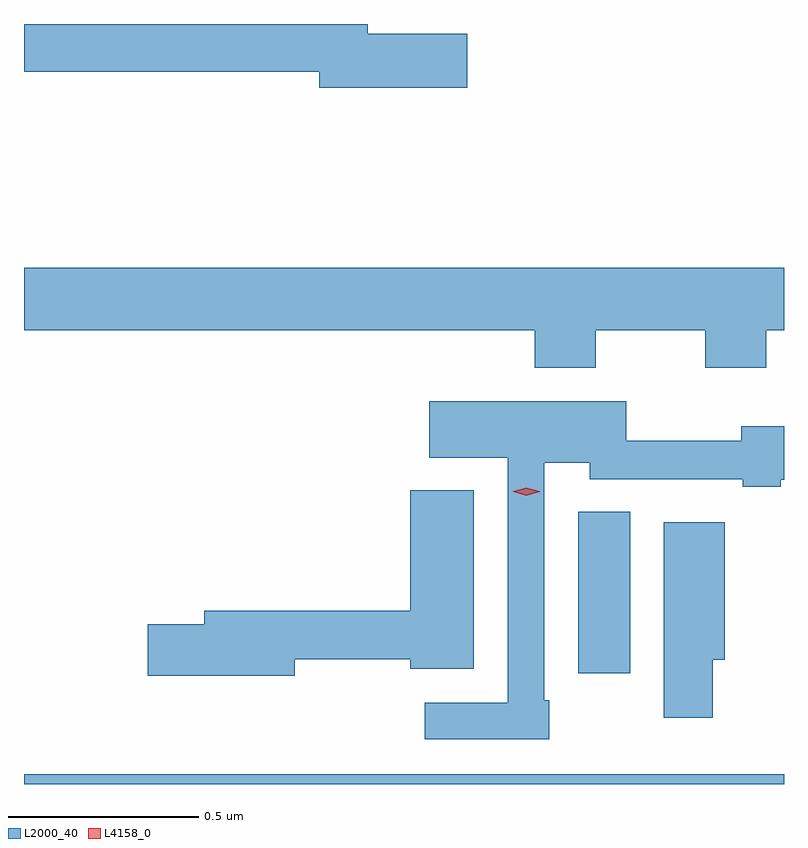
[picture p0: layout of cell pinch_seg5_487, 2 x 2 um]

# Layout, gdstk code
import gdstk
lib = gdstk.Library(unit=1e-6, precision=1e-09)
def R(c, l, rs):  # rectangles x0, y0, x1, y1
    for r in rs: c.add(gdstk.rectangle(r[:2], r[2:], *l))
def P(c, l, *ps):  # polygons
    for p in ps: c.add(gdstk.Polygon(p, *l))
L2000_40 = (2000, 40)
L4158_0 = (4158, 0)

pinch_seg5_487 = lib.new_cell('pinch_seg5_487')
R(pinch_seg5_487, L2000_40, [(940.901,847.574,942.901,847.6), (942.359,847.866,942.496,848.291)])
P(pinch_seg5_487, L2000_40, [(942.067,849.548),(941.806,849.548),(941.806,849.574),(940.901,849.574),(940.901,849.448),(941.678,849.448),(941.678,849.406),(942.067,849.406)],
  [(942.405,848.768),(942.694,848.768),(942.694,848.669),(942.854,848.669),(942.854,848.768),(942.901,848.768),(942.901,848.932),(940.901,848.932),(940.901,848.768),(942.245,848.768),(942.245,848.669),(942.405,848.669)],
  [(942.283,847.795),(942.27,847.795),(942.27,848.42),(942.39,848.42),(942.39,848.376),(942.792,848.376),(942.792,848.356),(942.892,848.356),(942.892,848.375),(942.901,848.375),(942.901,848.515),(942.788,848.515),(942.788,848.477),(942.486,848.477),(942.486,848.581),(941.967,848.581),(941.967,848.432),(942.174,848.432),(942.174,847.788),(941.955,847.788),(941.955,847.692),(942.283,847.692)],
  [(941.614,847.902),(941.918,847.902),(941.918,847.877),(942.085,847.877),(942.085,848.347),(941.918,848.347),(941.918,848.03),(941.375,848.03),(941.375,847.994),(941.226,847.994),(941.226,847.859),(941.614,847.859)],
  [(942.714,847.901),(942.745,847.901),(942.745,848.263),(942.584,848.263),(942.584,847.749),(942.714,847.749)])
P(pinch_seg5_487, L4158_0, [(942.223,848.333),(942.188,848.343),(942.188,848.343),(942.188,848.344),(942.223,848.353),(942.258,848.344),(942.258,848.343),(942.258,848.343)])

lib.write_gds('pinch_seg5_487.gds')
